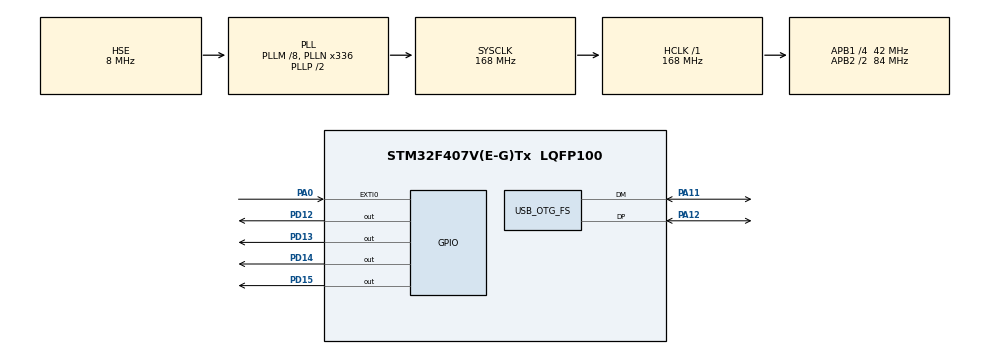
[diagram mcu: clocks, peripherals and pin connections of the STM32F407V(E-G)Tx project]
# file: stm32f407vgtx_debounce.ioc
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FREERTOS.Tasks01=defaultTask,0,128,StartDefaultTask,Default,NULL
Mcu.Family=STM32F4
Mcu.Name=STM32F407V(E-G)Tx
Mcu.Package=LQFP100
NVIC.EXTI0_IRQn=true\:0\:0\:false\:false\:true\:false\:true\:true
NVIC.OTG_FS_IRQn=true\:5\:0\:false\:false\:true\:true\:false\:true
NVIC.PriorityGroup=NVIC_PRIORITYGROUP_4
NVIC.TIM6_DAC_IRQn=true\:0\:0\:false\:false\:true\:false\:false\:true
NVIC.TimeBase=TIM6_DAC_IRQn
NVIC.TimeBaseIP=TIM6
PA0-WKUP.Signal=GPXTI0
PA11.Mode=Device_Only
PA11.Signal=USB_OTG_FS_DM
PA12.Mode=Device_Only
PA12.Signal=USB_OTG_FS_DP
PD12.Signal=GPIO_Output
PD13.Signal=GPIO_Output
PD14.Signal=GPIO_Output
PD15.Signal=GPIO_Output
PH0-OSC_IN.Mode=HSE-External-Oscillator
PH0-OSC_IN.Signal=RCC_OSC_IN
PH1-OSC_OUT.Mode=HSE-External-Oscillator
PH1-OSC_OUT.Signal=RCC_OSC_OUT
ProjectManager.HeapSize=0x2000
ProjectManager.StackSize=0x4000
ProjectManager.TargetToolchain=MDK-ARM V5.27
RCC.48MHZClocksFreq_Value=48000000
RCC.AHBFreq_Value=168000000
RCC.APB1CLKDivider=RCC_HCLK_DIV4
RCC.APB1Freq_Value=42000000
RCC.APB1TimFreq_Value=84000000
RCC.APB2CLKDivider=RCC_HCLK_DIV2
RCC.APB2Freq_Value=84000000
RCC.APB2TimFreq_Value=168000000
RCC.CortexFreq_Value=168000000
RCC.HCLKFreq_Value=168000000
RCC.HSE_VALUE=8000000
RCC.HSI_VALUE=16000000
RCC.LSE_VALUE=32768
RCC.PLLM=8
RCC.PLLN=336
RCC.PLLQ=7
RCC.SYSCLKFreq_VALUE=168000000
RCC.SYSCLKSource=RCC_SYSCLKSOURCE_PLLCLK
RCC.VCOOutputFreq_Value=336000000
USB_DEVICE.CLASS_NAME_FS=CDC
USB_DEVICE.VirtualMode-CDC_FS=Cdc
USB_DEVICE.VirtualModeFS=Cdc_FS
USB_OTG_FS.VirtualMode=Device_Only
VP_FREERTOS_VS_CMSIS_V1.Mode=CMSIS_V1
VP_SYS_VS_tim6.Mode=TIM6
VP_USB_DEVICE_VS_USB_DEVICE_CDC_FS.Mode=CDC_FS
board=STM32F407G-DISC1

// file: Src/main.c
/* USER CODE BEGIN Header */
/**
  ******************************************************************************
  * @file           : main.c
  * @brief          : Main program body
  ******************************************************************************
  * @attention
  *
  * <h2><center>&copy; Copyright (c) 2019 STMicroelectronics.
  * All rights reserved.</center></h2>
  *
  * This software component is licensed by ST under Ultimate Liberty license
  * SLA0044, the "License"; You may not use this file except in compliance with
  * the License. You may obtain a copy of the License at:
  *                             www.st.com/SLA0044
  *
  ******************************************************************************
  */
/* USER CODE END Header */

#include "main.h"
#include "cmsis_os.h"
#include "usb_device.h"

/* USER CODE BEGIN Includes */
#include <stdio.h>
#include <string.h>
#include <stdbool.h>
#include "usbd_cdc_if.h"
/* USER CODE END Includes */

osThreadId defaultTaskHandle;

void SystemClock_Config(void);
static void MX_GPIO_Init(void);
void StartDefaultTask(void const * argument);

/* USER CODE BEGIN 0 */
static uint32_t            xTickDebounce;
static bool                flag=false;
static uint32_t             bPress=0;
static uint32_t             bRelease=0;
static uint32_t             bDebounce=0;
void debounceTask(void *part) {
    while (true) {
        //if time out and flag was set then check for release press.
        //xTickDebounce will be set by interrupt
        if (xTaskGetTickCount() - xTickDebounce >= 10 && flag) {
            if (HAL_GPIO_ReadPin(GPIOA, GPIO_PIN_0) == GPIO_PIN_RESET) {
                HAL_GPIO_TogglePin(GPIOD, GPIO_PIN_13);
                bRelease++;
                flag = false;
            } else {
                HAL_GPIO_TogglePin(GPIOD, GPIO_PIN_14);
            }
        } else {
            //first time detect key press, turn on led
            if (flag == false) {
                if (HAL_GPIO_ReadPin(GPIOA, GPIO_PIN_0) == GPIO_PIN_SET) {
                    HAL_GPIO_TogglePin(GPIOD, GPIO_PIN_13);
                    flag = true;
                    bPress++;
                }
            }
        }
    }
}

void HAL_GPIO_EXTI_Callback(uint16_t GPIO_Pin)
{
    if (GPIO_Pin == GPIO_PIN_0) {
        //reset the time if press has been changed.
        xTickDebounce = xTaskGetTickCount();
        bDebounce++;
    }
}
/* USER CODE END 0 */

int main(void)
{

  /* MCU Configuration--------------------------------------------------------*/

  /* Reset of all peripherals, Initializes the Flash interface and the Systick. */
  HAL_Init();

  /* Configure the system clock */
  SystemClock_Config();

  /* Initialize all configured peripherals */
  MX_GPIO_Init();

  /* Create the thread(s) */
  /* definition and creation of defaultTask */
  osThreadDef(defaultTask, StartDefaultTask, osPriorityNormal, 0, 128);
  defaultTaskHandle = osThreadCreate(osThread(defaultTask), NULL);

  /* USER CODE BEGIN RTOS_THREADS */
  /* add threads, ... */
  xTaskCreate(debounceTask, "debounce", 128, 0, 0, 0);
  /* USER CODE END RTOS_THREADS */

  /* Start scheduler */
  osKernelStart();

  /* We should never get here as control is now taken by the scheduler */

  /* Infinite loop */
  while (1)
  {

  }
}

void SystemClock_Config(void)
{
  RCC_OscInitTypeDef RCC_OscInitStruct = {0};
  RCC_ClkInitTypeDef RCC_ClkInitStruct = {0};

  /** Configure the main internal regulator output voltage
  */
  __HAL_RCC_PWR_CLK_ENABLE();
  __HAL_PWR_VOLTAGESCALING_CONFIG(PWR_REGULATOR_VOLTAGE_SCALE1);
  /** Initializes the CPU, AHB and APB busses clocks
  */
  RCC_OscInitStruct.OscillatorType = RCC_OSCILLATORTYPE_HSE;
  RCC_OscInitStruct.HSEState = RCC_HSE_ON;
  RCC_OscInitStruct.PLL.PLLState = RCC_PLL_ON;
  RCC_OscInitStruct.PLL.PLLSource = RCC_PLLSOURCE_HSE;
  RCC_OscInitStruct.PLL.PLLM = 8;
  RCC_OscInitStruct.PLL.PLLN = 336;
  RCC_OscInitStruct.PLL.PLLP = RCC_PLLP_DIV2;
  RCC_OscInitStruct.PLL.PLLQ = 7;
  if (HAL_RCC_OscConfig(&RCC_OscInitStruct) != HAL_OK)
  {
    Error_Handler();
  }
  /** Initializes the CPU, AHB and APB busses clocks
  */
  RCC_ClkInitStruct.ClockType = RCC_CLOCKTYPE_HCLK|RCC_CLOCKTYPE_SYSCLK
                              |RCC_CLOCKTYPE_PCLK1|RCC_CLOCKTYPE_PCLK2;
  RCC_ClkInitStruct.SYSCLKSource = RCC_SYSCLKSOURCE_PLLCLK;
  RCC_ClkInitStruct.AHBCLKDivider = RCC_SYSCLK_DIV1;
  RCC_ClkInitStruct.APB1CLKDivider = RCC_HCLK_DIV4;
  RCC_ClkInitStruct.APB2CLKDivider = RCC_HCLK_DIV2;

  if (HAL_RCC_ClockConfig(&RCC_ClkInitStruct, FLASH_LATENCY_5) != HAL_OK)
  {
    Error_Handler();
  }
}

static void MX_GPIO_Init(void)
{
  GPIO_InitTypeDef GPIO_InitStruct = {0};

  /* GPIO Ports Clock Enable */
  __HAL_RCC_GPIOH_CLK_ENABLE();
  __HAL_RCC_GPIOA_CLK_ENABLE();
  __HAL_RCC_GPIOD_CLK_ENABLE();

  /*Configure GPIO pin Output Level */
  HAL_GPIO_WritePin(GPIOD, GPIO_PIN_12|GPIO_PIN_13|GPIO_PIN_14|GPIO_PIN_15, GPIO_PIN_RESET);

  /*Configure GPIO pin : PA0 */
  GPIO_InitStruct.Pin = GPIO_PIN_0;
  GPIO_InitStruct.Mode = GPIO_MODE_IT_RISING;
  GPIO_InitStruct.Pull = GPIO_NOPULL;
  HAL_GPIO_Init(GPIOA, &GPIO_InitStruct);

  /*Configure GPIO pins : PD12 PD13 PD14 PD15 */
  GPIO_InitStruct.Pin = GPIO_PIN_12|GPIO_PIN_13|GPIO_PIN_14|GPIO_PIN_15;
  GPIO_InitStruct.Mode = GPIO_MODE_OUTPUT_PP;
  GPIO_InitStruct.Pull = GPIO_NOPULL;
  GPIO_InitStruct.Speed = GPIO_SPEED_FREQ_LOW;
  HAL_GPIO_Init(GPIOD, &GPIO_InitStruct);

  /* EXTI interrupt init*/
  HAL_NVIC_SetPriority(EXTI0_IRQn, 0, 0);
  HAL_NVIC_EnableIRQ(EXTI0_IRQn);

}

void StartDefaultTask(void const * argument)
{
  /* init code for USB_DEVICE */
  MX_USB_DEVICE_Init();
  /* USER CODE BEGIN 5 */
  /* Infinite loop */
  for(;;)
  {
    HAL_GPIO_TogglePin(GPIOD, GPIO_PIN_12);
    osDelay(200);
  }
  /* USER CODE END 5 */
}

void HAL_TIM_PeriodElapsedCallback(TIM_HandleTypeDef *htim)
{
  if (htim->Instance == TIM6) {
    HAL_IncTick();
  }
}

void Error_Handler(void)
{
}

/************************ (C) COPYRIGHT STMicroelectronics *****END OF FILE****/
